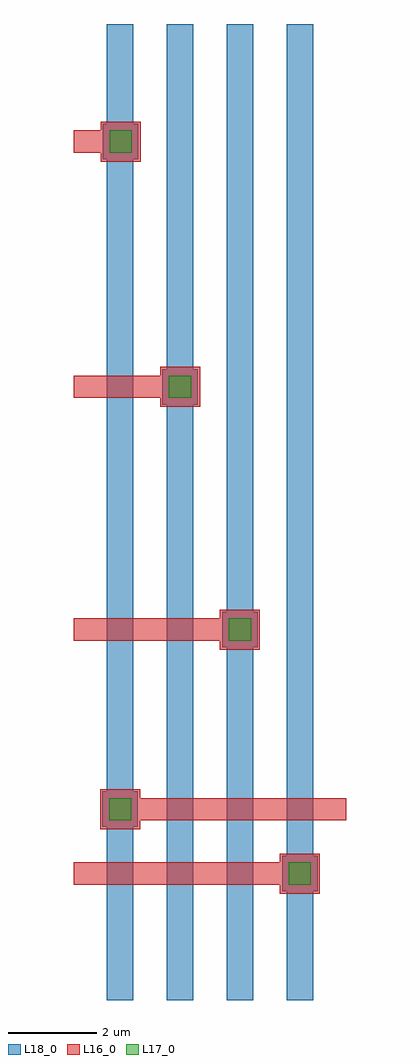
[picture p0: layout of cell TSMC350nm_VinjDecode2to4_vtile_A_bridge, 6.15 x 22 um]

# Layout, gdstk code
import gdstk
lib = gdstk.Library(unit=1e-6, precision=1e-09)
def R(c, l, rs):  # rectangles x0, y0, x1, y1
    for r in rs: c.add(gdstk.rectangle(r[:2], r[2:], *l))
L16_0 = (16, 0)
L17_0 = (17, 0)
L18_0 = (18, 0)

prog_periph_via2_cdns_73 = lib.new_cell('prog_periph_VIA2_CDNS_739398170970')
R(prog_periph_via2_cdns_73, L16_0, [(-0.45,-0.45,0.45,0.45)])
R(prog_periph_via2_cdns_73, L17_0, [(-0.25,-0.25,0.25,0.25)])
R(prog_periph_via2_cdns_73, L18_0, [(-0.4,-0.4,0.4,0.4)])

tsmc350nm_vinjdecode2to4 = lib.new_cell('TSMC350nm_VinjDecode2to4_vtile_A_bridge')
tsmc350nm_vinjdecode2to4.add(gdstk.FlexPath([(1.05,2.85),(1.05,22)], 0.6, ends="flush", simple_path=True, layer=18, datatype=0))  # L18_0
tsmc350nm_vinjdecode2to4.add(gdstk.FlexPath([(2.4,0),(2.4,22)], 0.6, ends="flush", simple_path=True, layer=18, datatype=0))  # L18_0
tsmc350nm_vinjdecode2to4.add(gdstk.FlexPath([(3.75,0),(3.75,22)], 0.6, ends="flush", simple_path=True, layer=18, datatype=0))  # L18_0
tsmc350nm_vinjdecode2to4.add(gdstk.FlexPath([(5.1,0),(5.1,22)], 0.6, ends="flush", simple_path=True, layer=18, datatype=0))  # L18_0
tsmc350nm_vinjdecode2to4.add(gdstk.FlexPath([(1.05,0),(1.05,2.85)], 0.6, ends="flush", simple_path=True, layer=18, datatype=0))  # L18_0
tsmc350nm_vinjdecode2to4.add(gdstk.FlexPath([(6.15,4.3),(1.05,4.3)], 0.5, ends="flush", simple_path=True, layer=16, datatype=0))  # L16_0
tsmc350nm_vinjdecode2to4.add(gdstk.FlexPath([(0,2.85),(5.1,2.85)], 0.5, ends="flush", simple_path=True, layer=16, datatype=0))  # L16_0
tsmc350nm_vinjdecode2to4.add(gdstk.FlexPath([(0,13.82),(2.4,13.82)], 0.5, ends="flush", simple_path=True, layer=16, datatype=0))  # L16_0
tsmc350nm_vinjdecode2to4.add(gdstk.FlexPath([(0,8.35),(3.75,8.35)], 0.5, ends="flush", simple_path=True, layer=16, datatype=0))  # L16_0
tsmc350nm_vinjdecode2to4.add(gdstk.FlexPath([(0,19.35),(1.05,19.35)], 0.5, ends="flush", simple_path=True, layer=16, datatype=0))  # L16_0
tsmc350nm_vinjdecode2to4.add(gdstk.Reference(prog_periph_via2_cdns_73, (1.05,4.3)))
tsmc350nm_vinjdecode2to4.add(gdstk.Reference(prog_periph_via2_cdns_73, (5.1,2.85)))
tsmc350nm_vinjdecode2to4.add(gdstk.Reference(prog_periph_via2_cdns_73, (2.4,13.82)))
tsmc350nm_vinjdecode2to4.add(gdstk.Reference(prog_periph_via2_cdns_73, (3.75,8.35)))
tsmc350nm_vinjdecode2to4.add(gdstk.Reference(prog_periph_via2_cdns_73, (1.06,19.35)))

lib.write_gds('TSMC350nm_VinjDecode2to4_vtile_A_bridge.gds')
